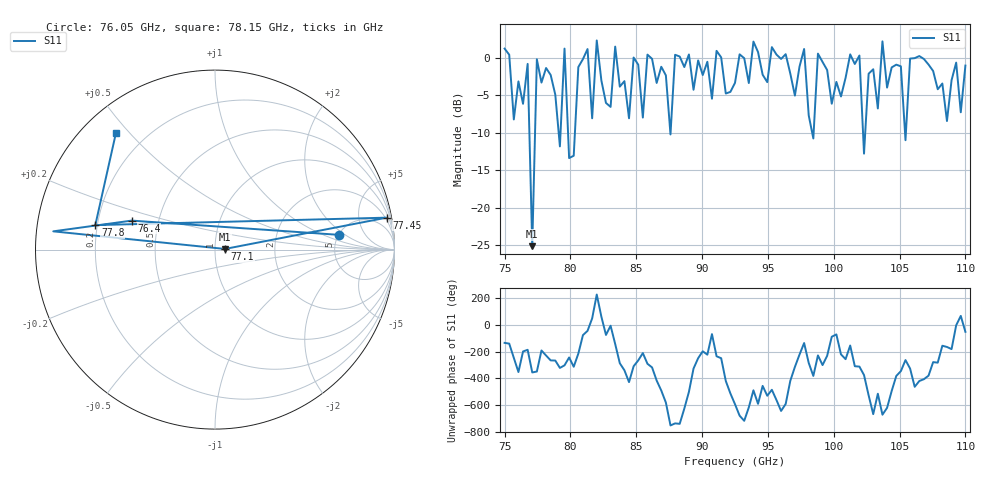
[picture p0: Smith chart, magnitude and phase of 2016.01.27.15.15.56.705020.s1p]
!Created with skrf (http://scikit-rf.org).
# GHz S RI R 50.0
!freq ReS11 ImS11
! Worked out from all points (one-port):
!   101 points, 75 GHz to 110 GHz, reference 50 ohm
!   lowest |S11| = -25.1 dB at 77.1 GHz (marker M1), VSWR 1.12, Z = 55.8 + j0.402 ohm
!   |S11| at or under -10 dB: 76.88 GHz to 77.31 GHz (430.9 MHz wide, 0.559 % of centre); 79.10637 GHz to 79.24953 GHz (143.2 MHz wide, 0.181 % of centre); 79.82 GHz to 80.34 GHz (523 MHz wide, 0.653 % of centre) (the widest 3 of 7)
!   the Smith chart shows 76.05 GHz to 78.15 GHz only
!   S11 on the Smith chart (normalised r, x): 76.05 GHz: 5.00, +1.59; 76.4 GHz: 0.35, +0.15; 77.1 GHz: 1.12, +0.01; 77.45 GHz: 2, +11; 77.8 GHz: 0.19, +0.10; 78.15 GHz: 0.10, +0.46
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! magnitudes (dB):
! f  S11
! 75 GHz  1.2
! 76.05 GHz  -3.2
! 76.4 GHz  -6.2
! 76.75 GHz  -0.9
! 77.1 GHz  -25.1
! 77.45 GHz  -0.2
! 77.8 GHz  -3.3
! 78.15 GHz  -1.4
! 79.2 GHz  -11.8
! 79.55 GHz  1.2
! 79.9 GHz  -13.4
! 81.3 GHz  1.1
! 81.65 GHz  -8.1
! 82 GHz  2.3
! 83.75 GHz  -3.9
! 86.9 GHz  -1.2
! 87.6 GHz  -10.2
! 88.3 GHz  0.1
! 92.5 GHz  -3.4
! 97.05 GHz  -5.1
! 101.2 GHz  0.4
! 102 GHz  0.3
! 102.3 GHz  -12.8
! 103.7 GHz  2.2
! 105.5 GHz  -11.0
! 105.8 GHz  -0.1
! 108.6 GHz  -8.5
! 110 GHz  -1.1
